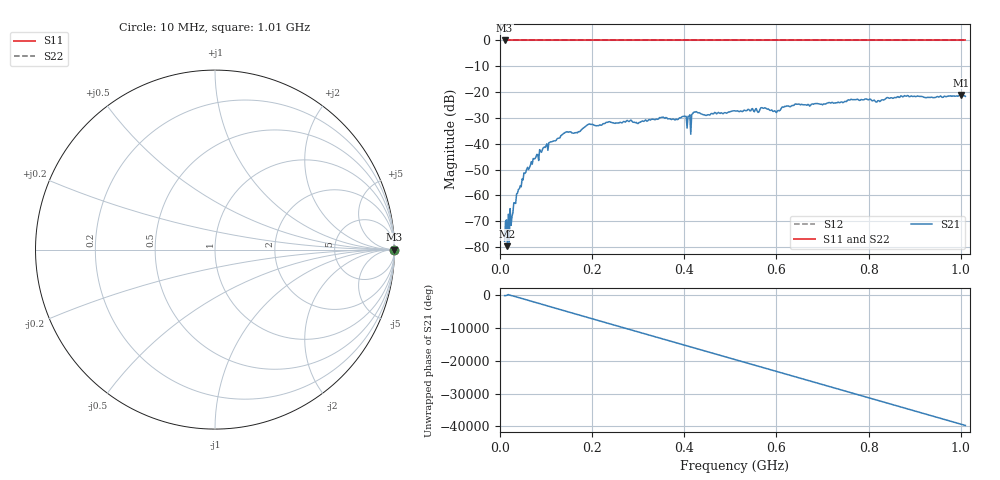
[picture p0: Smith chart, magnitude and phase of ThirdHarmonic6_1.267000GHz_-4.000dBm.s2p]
! 8/16/2025 1:40:14 PM
! C:\ANRITSUVNA\TEMP\TEMP.S2P
! CHANNEL.1
! TR.MEASUREMENT
! RAW.DATA
! RF.CORRECTION.OFF
! AVERAGING.OFF
! IF.BANDWIDTH: 5KHZ
! SWEEPTYPE:  FREQ.SWEEP(Linear)
! Reference Plane Port Info
! PORT:  PORT1  PORT2
! DISTANCE:  0  m  0  m
! TIME:  0  s  0  s
! PHASE.OFFSET:  0  deg.  0  deg.
! LOSS:  0  dB  0  dB
! REF.LOSS:  0  dB  0  dB
! REF.FREQ:  0  Hz  0  Hz
! Power Info
! POWER:  -20  dBm  -20  dBm
! EFF.POWER:  -20  dBm  -20  dBm
! SOURCE.ATTEN:  0  dB  0  dB
! TEST.ATTEN:  0  dB  0  dB
# GHZ S RI R 50.0
! FREQ.GHZ  S11RE  S11IM  S21RE  S21IM  S12RE  S12IM  S22RE  S22IM
!; PortSelection: Port_12
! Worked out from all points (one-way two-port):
!   501 points, 10 MHz to 1.01 GHz, reference 50 ohm
!   highest |S21| = -21.09 dB at 1 GHz (marker M1); lowest = -79.7 dB at 16 MHz (marker M2)
!   lowest |S11| = 0.0 dB at 10 MHz (marker M3)
!   |S11| at or under -10 dB: nowhere
!   |S22| runs from 0.0 to 0.0 dB; largest |S21 - S12| = 1.1
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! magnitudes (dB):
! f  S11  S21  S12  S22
! 10 MHz  0.0  -77.8  0.0  0.0
! 16 MHz  0.0  -79.7  0.0  0.0
! 20 MHz  0.0  -78.2  0.0  0.0
! 34 MHz  0.0  -63.2  0.0  0.0
! 52 MHz  0.0  -51.3  0.0  0.0
! 76 MHz  0.0  -45.8  0.0  0.0
! 140 MHz  0.0  -35.9  0.0  0.0
! 178 MHz  0.0  -34.4  0.0  0.0
! 194 MHz  0.0  -32.3  0.0  0.0
! 344 MHz  0.0  -30.4  0.0  0.0
! 400 MHz  0.0  -29.4  0.0  0.0
! 410 MHz  0.0  -29.4  0.0  0.0
! 424 MHz  0.0  -27.7  0.0  0.0
! 450 MHz  0.0  -28.9  0.0  0.0
! 510 MHz  0.0  -27.3  0.0  0.0
! 570 MHz  0.0  -26.1  0.0  0.0
! 596 MHz  0.0  -27.2  0.0  0.0
! 644 MHz  0.0  -24.7  0.0  0.0
! 678 MHz  0.0  -24.6  0.0  0.0
! 844 MHz  0.0  -22.4  0.0  0.0
! 1 GHz  0.0  -21.1  0.0  0.0
! 1.01 GHz  0.0  -21.6  0.0  0.0
